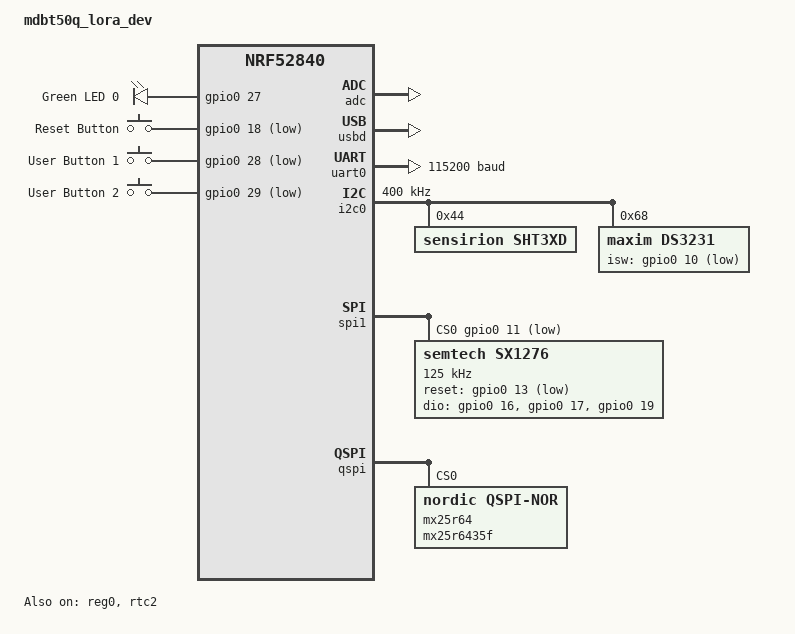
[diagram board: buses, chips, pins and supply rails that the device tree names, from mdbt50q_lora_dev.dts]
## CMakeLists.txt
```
cmake_minimum_required(VERSION 3.20.0)
add_compile_options(-Wall)
# =========== Retrieve build parameters =====================
# Set default log level (OFF, ERR, WRN, INF, DBG)
set(SASTRESS_LOG_LVL LOG_LEVEL_INF)

message("========= SASTRESS PARAMETERS ==========")
# NODE ID handling
set(env_node_id $ENV{NODE_ID})
if(NOT DEFINED ENV{NODE_ID})
    message(FATAL_ERROR "La variable d'environnement NODE_ID n'est pas définie ! Faites 'export NODE_ID=X'")
endif()

message("NODE ID is ${env_node_id}")


# Deploy Mode :
# - Change logging system from Serial to Filesystem
# - Set default logging code to LOG_LEVEL_INF
if(DEFINED ENV{DEPLOY})
    message("Building DEPLOY configuration !")
    set(SASTRESS_LOG_LVL LOG_LEVEL_INF)
endif()
message("Log level is ${SASTRESS_LOG_LVL}")
message("========================================")


# =============== Actual CMakeList ====================
find_package(Zephyr REQUIRED HINTS $ENV{ZEPHYR_BASE})
project(6sens_rtos_sensor)
zephyr_compile_definitions("SASTRESS_LOG_LVL=${SASTRESS_LOG_LVL}")
zephyr_compile_definitions(NODE_ID=${env_node_id})
FILE(GLOB app_sources src/*.c)
target_sources(app PRIVATE ${app_sources})
```

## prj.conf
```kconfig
# Debugger Support
CONFIG_CONSOLE=y
CONFIG_SERIAL=y
CONFIG_UART_CONSOLE=n
CONFIG_CONSOLE_SUBSYS=y
#CONFIG_CONSOLE_GETLINE=y

# RTT Segger Support
CONFIG_RTT_CONSOLE=y
CONFIG_USE_SEGGER_RTT=y

# Log support
CONFIG_LOG=y
CONFIG_LOG_DEFAULT_LEVEL=3
CONFIG_LORA_LOG_LEVEL_DBG=n
CONFIG_LOG_BACKEND_UART=n
CONFIG_LOG_BACKEND_RTT=y
CONFIG_LOG_PRINTK=n

# Communication Bus Support
CONFIG_GPIO=y
CONFIG_SPI=y
CONFIG_I2C=y

# Hardware Support
CONFIG_REBOOT=y
CONFIG_ADC=y
CONFIG_SENSOR=y
CONFIG_RING_BUFFER=y

# RTC Support
CONFIG_COUNTER=y
CONFIG_COUNTER_MAXIM_DS3231=y
CONFIG_POSIX_API=y
CONFIG_NEWLIB_LIBC=y

# Flash Memory Support (MX25R64)
CONFIG_FLASH=y
CONFIG_FLASH_MAP=y
CONFIG_MPU_ALLOW_FLASH_WRITE=y
# CONFIG_NORDIC_QSPI_NOR=n


# File System Support
CONFIG_FILE_SYSTEM=y
CONFIG_FILE_SYSTEM_LITTLEFS=y
CONFIG_FS_LITTLEFS_FMP_DEV=y
# CONFIG_FS_LITTLEFS_BLK_DEV=y

# Enable the filesystem logging backend
CONFIG_LOG_BACKEND_FS=y
# 256kB partition for log, 60 * 4096 < 256kB
CONFIG_LOG_BACKEND_FS_FILES_LIMIT=6
CONFIG_LOG_BACKEND_FS_DIR="/log"

CONFIG_HW_STACK_PROTECTION=y
CONFIG_DEBUG_THREAD_INFO=y
# LoRa Support
CONFIG_LORA=y

# LoRaWAN Support
CONFIG_LORAWAN=y
CONFIG_HAS_SEMTECH_LORAMAC=y
CONFIG_LORAMAC_REGION_EU868=y
CONFIG_LORAWAN_SYSTEM_MAX_RX_ERROR=100

# Stack Support
CONFIG_MAIN_STACK_SIZE=4096
CONFIG_SYSTEM_WORKQUEUE_STACK_SIZE=2048

# Random Number Generation Support
CONFIG_PRINTK=y
CONFIG_CBPRINTF_FP_SUPPORT=y
CONFIG_NEWLIB_LIBC_FLOAT_PRINTF=y
#CONFIG_FP_SOFTABI=y

# Utils
CONFIG_BASE64=y
CONFIG_EVENTS=y
```

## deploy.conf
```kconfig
# Configuration for sensor deployment

# Enable the filesystem logging backend
CONFIG_LOG_BACKEND_FS=y
# 256kB partition for log, 60 * 4096 < 256kB
CONFIG_LOG_BACKEND_FS_FILES_LIMIT=60
CONFIG_LOG_BACKEND_FS_DIR="/log"
```

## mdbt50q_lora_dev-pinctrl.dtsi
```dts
/*
 * Copyright (c) 2024 Regis Rousseau
 * SPDX-License-Identifier: Apache-2.0
 */

&pinctrl {
	/* USB to UART Converter */
	uart0_default: uart0_default {
		group1 {
			psels = <NRF_PSEL(UART_TX, 0, 8)>,
				    <NRF_PSEL(UART_RX, 0, 9)>,
				    <NRF_PSEL(UART_RTS, 0, 7)>,
				    <NRF_PSEL(UART_CTS, 0, 6)>;
		};
	};

	uart0_sleep: uart0_sleep {
		group1 {
			psels = <NRF_PSEL(UART_TX, 0, 8)>,
				    <NRF_PSEL(UART_RX, 0, 9)>,
				    <NRF_PSEL(UART_RTS, 0, 7)>,
				    <NRF_PSEL(UART_CTS, 0, 6)>;
			low-power-enable;
		};
	};
	
	/* I2C Device : SHT31 (0x44) & RTC (0x68) */
	i2c0_default: i2c0_default {
		group1 {
			psels = <NRF_PSEL(TWIM_SDA, 0, 5)>,
				    <NRF_PSEL(TWIM_SCL, 0, 4)>;
				    //bias-disable;
				    //bias-pull-up;
		};
	};

	i2c0_sleep: i2c0_sleep {
		group1 {
			psels = <NRF_PSEL(TWIM_SDA, 0, 5)>,
				    <NRF_PSEL(TWIM_SCL, 0, 4)>;
			low-power-enable;
		};
	};
	
	/* SPI1 : RFM95W module */
	spi1_default: spi1_default {
		group1 {
			psels = <NRF_PSEL(SPIM_SCK, 0, 12)>,
				     <NRF_PSEL(SPIM_MOSI, 0, 14)>,
				     <NRF_PSEL(SPIM_MISO, 0, 15)>;
		};
	};

	spi1_sleep: spi1_sleep {
		group1 {
			psels = <NRF_PSEL(SPIM_SCK, 0, 12)>,
				    <NRF_PSEL(SPIM_MOSI, 0, 14)>,
				    <NRF_PSEL(SPIM_MISO, 0, 15)>;
			low-power-enable;
		};
	};
	
	/* QSPI : MX25R6435FM1 Flash Memory */
	qspi_default: qspi_default {
		group1 {
			psels = <NRF_PSEL(QSPI_SCK, 1, 1)>,
				    <NRF_PSEL(QSPI_IO0, 1, 2)>,
				    <NRF_PSEL(QSPI_IO1, 1, 3)>,
				    <NRF_PSEL(QSPI_IO2, 1, 4)>,
				    <NRF_PSEL(QSPI_IO3, 1, 5)>,
				    <NRF_PSEL(QSPI_CSN, 1, 0)>;
		};
	};

	qspi_sleep: qspi_sleep {
		group1 {
			psels = <NRF_PSEL(QSPI_SCK, 1, 1)>,
				    <NRF_PSEL(QSPI_IO0, 1, 2)>,
				    <NRF_PSEL(QSPI_IO1, 1, 3)>,
				    <NRF_PSEL(QSPI_IO2, 1, 4)>,
				    <NRF_PSEL(QSPI_IO3, 1, 5)>;
			low-power-enable;
		};
		group2 {
			psels = <NRF_PSEL(QSPI_CSN, 1, 0)>;
			low-power-enable;
			bias-pull-up;
		};
	};

};
```

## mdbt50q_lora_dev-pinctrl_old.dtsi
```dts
/*
 * Copyright (c) 2024 Regis Rousseau
 * SPDX-License-Identifier: Apache-2.0
 */

&pinctrl {
	/* USB to UART Converter */

	uart0_default: uart0_default {
		group1 {
			psels = <NRF_PSEL(UART_TX, 0, 6)>,
				    <NRF_PSEL(UART_RX, 0, 8)>,
				    <NRF_PSEL(UART_RTS, 0, 5)>,
				    <NRF_PSEL(UART_CTS, 0, 7)>;
		};
	};

	uart0_sleep: uart0_sleep {
		group1 {
			psels = <NRF_PSEL(UART_TX, 0, 6)>,
				    <NRF_PSEL(UART_RX, 0, 8)>,
				    <NRF_PSEL(UART_RTS, 0, 5)>,
				    <NRF_PSEL(UART_CTS, 0, 7)>;
			low-power-enable;
		};
	};
	
	/* I2C Device : SHT31 (0x44) & RTC (0x68) */

	i2c0_default: i2c0_default {
		group1 {
			psels = <NRF_PSEL(TWIM_SDA, 0, 24)>,
				    <NRF_PSEL(TWIM_SCL, 0, 25)>;
				    //bias-disable;
				    //bias-pull-up;
		};
	};

	i2c0_sleep: i2c0_sleep {
		group1 {
			psels = <NRF_PSEL(TWIM_SDA, 0, 24)>,
				    <NRF_PSEL(TWIM_SCL, 0, 25)>;
			low-power-enable;
		};
	};
	
	/* SPI1 : RFM95W module */

	spi1_default: spi1_default {
		group1 {
			psels = <NRF_PSEL(SPIM_SCK, 0, 14)>,
				     <NRF_PSEL(SPIM_MOSI, 0, 16)>,
				     <NRF_PSEL(SPIM_MISO, 0, 15)>;
		};
	};

	spi1_sleep: spi1_sleep {
		group1 {
			psels = <NRF_PSEL(SPIM_SCK, 0, 14)>,
				    <NRF_PSEL(SPIM_MOSI, 0, 16)>,
				    <NRF_PSEL(SPIM_MISO, 0, 15)>;
			low-power-enable;
		};
	};
	
	/* QSPI : MX25R6435FM1 Flash Memory */

	qspi_default: qspi_default {
		group1 {
			psels = <NRF_PSEL(QSPI_SCK, 1, 3)>,
				    <NRF_PSEL(QSPI_IO0, 1, 5)>,
				    <NRF_PSEL(QSPI_IO1, 1, 4)>,
				    <NRF_PSEL(QSPI_IO2, 1, 2)>,
				    <NRF_PSEL(QSPI_IO3, 1, 1)>,
				    <NRF_PSEL(QSPI_CSN, 1, 6)>;
		};
	};

	qspi_sleep: qspi_sleep {
		group1 {
			psels = <NRF_PSEL(QSPI_SCK, 1, 3)>,
				    <NRF_PSEL(QSPI_IO0, 1, 5)>,
				    <NRF_PSEL(QSPI_IO1, 1, 4)>,
				    <NRF_PSEL(QSPI_IO2, 1, 2)>,
				    <NRF_PSEL(QSPI_IO3, 1, 1)>;
			low-power-enable;
		};
		group2 {
			psels = <NRF_PSEL(QSPI_CSN, 1, 6)>;
			low-power-enable;
			bias-pull-up;
		};
	};

};
```

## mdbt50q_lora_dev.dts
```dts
/*
 * Copyright (c) 2025 Regis Rousseau
 *
 * SPDX-License-Identifier: Apache-2.0
 */

/dts-v1/;
#include <nordic/nrf52840_qiaa.dtsi>
#include "mdbt50q_lora_dev-pinctrl.dtsi"
#include <zephyr/dt-bindings/input/input-event-codes.h>

/ {
	model		= "mdbt50q_lora_dev";
	compatible	= "raytac,raytac-mdbt50q-db-40-nrf52840";

	chosen {
		zephyr,console		= &uart0;
		zephyr,shell-uart		= &uart0;
		zephyr,uart-mcumgr	= &uart0;
		zephyr,bt-mon-uart		= &uart0;
		zephyr,bt-c2h-uart		= &uart0;
		zephyr,sram			= &sram0;
		zephyr,flash			= &flash0;
		zephyr,code-partition	= &slot0_partition;
	};

	leds {
		compatible = "gpio-leds";
		led0: led_0 {
			gpios	= <&gpio0 27 GPIO_ACTIVE_HIGH>;
			label 	= "Green LED 0";
		};
	};

	buttons {
		compatible = "gpio-keys";
		button0: button_0 {
			gpios		= <&gpio0 18 (GPIO_PULL_UP | GPIO_ACTIVE_LOW)>;
			label			= "Reset Button";
			zephyr,code	= <INPUT_KEY_0>;
		};
		button1: button_1{
			gpios		= <&gpio0 28 (GPIO_PULL_UP | GPIO_ACTIVE_LOW)>;
			label			= "User Button 1";
			zephyr,code	= <INPUT_KEY_1>;
		};
		button2: button_2{
			gpios		= <&gpio0 29 (GPIO_PULL_UP | GPIO_ACTIVE_LOW)>;
			label			= "User Button 2";
			zephyr,code	= <INPUT_KEY_2>;
		};
	};

	aliases {
		led0				= &led0;
		sw0				= &button0;
		sw1				= &button1;
		sw2				= &button2;
		lora0			= &lora;
		mcuboot-button0 	= &button0;
		mcuboot-led0		=&led0;
		watchdog0		= &wdt0;
	};
};

&reg0 {
	status = "okay";
};

&reg1 {
	regulator-initial-mode = <NRF5X_REG_MODE_DCDC>;
};

&adc {
	status = "okay";
};

&uicr {
	gpio-as-nreset;
};

&gpiote {
	status = "okay";
};

&gpio0 {
	status = "okay";
};

&gpio1 {
	status = "okay";
};

zephyr_udc0: &usbd {
	compatible	= "nordic,nrf-usbd";
	status		= "okay";
};

&uart0 {
	compatible	= "nordic,nrf-uart";
	status		= "okay";
	current-speed	= <115200>;
	pinctrl-0		= <&uart0_default>;
	pinctrl-1		= <&uart0_sleep>;
	pinctrl-names	= "default","sleep";
};

&rtc2 {
	compatible	= "nordic,nrf-rtc";
        status		= "okay";
	cc-num      	= <3>;
        prescaler   	= <1>;	// 32768 Hz / (prescaler+1) = 16384 Hz
};

/* TPH sensor: SHT31 (0x44) & RTC: DS3231 (0x68) */
&i2c0 {
	compatible		= "nordic,nrf-twim";		// twim uses DMA
	status			= "okay";
	pinctrl-0			= <&i2c0_default>;
	pinctrl-1			= <&i2c0_sleep>;
	pinctrl-names 		= "default", "sleep";
	//pinctrl-names		= "default";
	clock-frequency	= <I2C_BITRATE_FAST>;

	sht3xd@44 {
		compatible	= "sensirion,sht3xd";
		reg			= <0x44>;
	};

	ds3231: ds3231@68 {
		compatible	= "maxim,ds3231";
		reg			= <0x68>;
		isw-gpios		= <&gpio0 10 (GPIO_PULL_UP | GPIO_ACTIVE_LOW)>;
	};
};

/* RFM95W module */
&spi1 {
	compatible	= "nordic,nrf-spi";
	status		= "okay";
	pinctrl-0		= <&spi1_default>;
	pinctrl-1		= <&spi1_sleep>;
	pinctrl-names	= "default", "sleep";
	cs-gpios	= <&gpio0 11 GPIO_ACTIVE_LOW>;
    
    	lora: sx1276@0 {
        	compatible	= "semtech,sx1276";
        	reg			= <0>;
        	label			= "sx1276";
        	reset-gpios	= <&gpio0 13 GPIO_ACTIVE_LOW>;
		dio-gpios		= <&gpio0 16 (GPIO_PULL_DOWN | GPIO_ACTIVE_HIGH)>,
            	    	    	  	   <&gpio0 17 (GPIO_PULL_DOWN | GPIO_ACTIVE_HIGH)>,
                                  	   <&gpio0 19 (GPIO_PULL_DOWN | GPIO_ACTIVE_HIGH)>;
		spi-max-frequency		= <125000>;
        	power-amplifier-output	= "pa-boost";
    	};
};

/* EEPROM Serial Flash Memory: MX25R6435 */
&qspi {
	status		= "okay";
	pinctrl-0 		= <&qspi_default>;
	pinctrl-1		= <&qspi_sleep>;
	pinctrl-names	= "default", "sleep";
	
	mx25r64: mx25r6435f@0 {
		compatible	= "nordic,qspi-nor";
		reg			= <0>;
		writeoc		= "pp4io";
		readoc		= "read4io";
		sck-frequency	= <8000000>;
		jedec-id		= [c2 28 17];
		sfdp-bfp		= [
					e5 20 f1 ff  ff ff ff 03  44 eb 08 6b  08 3b 04 bb
					ee ff ff ff  ff ff 00 ff  ff ff 00 ff  0c 20 0f 52
					10 d8 00 ff  23 72 f5 00  82 ed 04 cc  44 83 68 44
					30 b0 30 b0  f7 c4 d5 5c  00 be 29 ff  f0 d0 ff ff
		];
		size			= <67108864>;
		has-dpd;
		t-enter-dpd	= <10000>;
		t-exit-dpd		= <35000>;
	};
};

/* internal flash memory */
&flash0 {
	partitions {
		compatible 	= "fixed-partitions";
		#address-cells	= <1>;
		#size-cells	= <1>;

		boot_partition: partition@0 {
			label 	= "mcuboot";
			reg 		= <0x00000000 0x0000C000>;
		};
		slot0_partition: partition@c000 {
			label 	= "image-0";
			reg 		= <0x0000C000 0x00077000>;
		};
		slot1_partition: partition@83000 {
			label 	= "image-1";
			reg 		= <0x00083000 0x00075000>;
		};
		/* 32KB (8x4kB pages) of storage at the end of the 1MB flash */
		log_storage: partition@f8000 {
			label		= "log_storage";																																																																				
			reg 		= <0x000f8000 0x00008000>;
		};
	};
};
```

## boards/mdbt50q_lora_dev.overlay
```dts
/*
 * Copyright (c) 2025
 * Regis Rousseau
 * Univ Lyon, INSA Lyon, Inria, CITI, EA3720
 * SPDX-License-Identifier: Apache-2.0
 */

/* battery voltage monitoring and seismic sensor analog value conversion */
/* external ADC channnel of MDBT50Q, port P0.02 and port P0.03 on schematic */
/ {
	zephyr,user {
		io-channels = <&adc 0>,<&adc 1>;
	};
};

/* enable the corresponding ADC, with the correct configuration */
&adc {
	#address-cells = <1>;
	#size-cells = <0>;
	status = "okay";

	/* external ADC channnel AIN0 of MDBT50Q, port P0.02 on schematic for geophone*/
	channel@0 {
		reg = <0>;											/* channel 0 of the ADC */
		zephyr,gain = "ADC_GAIN_1_6";						/* attenuated by 6 (x1/6) */
		zephyr,reference = "ADC_REF_INTERNAL";				/* reference voltage +0.6 */
		zephyr,acquisition-time = <ADC_ACQ_TIME_DEFAULT>;	/* 10us */
		zephyr,input-positive = <NRF_SAADC_AIN0>;			/* p0.02 for nRF52xx */
		zephyr,resolution = <12>;
	};
	
	/* external ADC channnel AIN1 of MDBT50Q, port P0.03 on schematic for battery*/
	channel@1 {
		reg = <1>;											/* channel 1 of the ADC */
		zephyr,gain = "ADC_GAIN_1_6";						/* attenuated by 6 (x1/6) */
		zephyr,reference = "ADC_REF_INTERNAL";				/* reference voltage +0.6 */
		zephyr,acquisition-time = <ADC_ACQ_TIME_DEFAULT>;	/* 10us */
		zephyr,input-positive = <NRF_SAADC_AIN1>;			/* p0.03 for nRF52xx */
		zephyr,resolution = <12>;
	};
};

/* enable the recording in the EEPROM */
/* 
&mx25r64 {
	partitions {
		compatible		= "fixed-partitions";
		#address-cells	= <1>;
		#size-cells		= <1>;

		data_storage: partition@0 {
			label	= "data_storage";
			reg		= <0x00000000 0x00800000>;
		};
	};
};
*/

&flash0 {
	partitions {
		/* 512KB (128x4kB pages) of storage at the end of the 1MB flash */
		data_storage: partition@40000 {
			label		= "data_storage";																																																																				
			reg 		= <0x0040000 0x00080000>;
		};
		/* 256KB (64qx4kB pages) of storage at the end of the 1MB flash */
		log_storage: partition@C0000 {
			label		= "log_storage";																																																																				
			reg 		= <0x00C0000 0x00040000>;
		};
	
	};
};
```

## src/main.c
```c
#include <stdio.h>
#include "version.h"
/*
 * Copyright (c) 2025
 * Regis Rousseau
 * Univ Lyon, INSA Lyon, Inria, CITI, EA3720
 * SPDX-License-Identifier: Apache-2.0
 */

//  ========== includes ====================================================================
#include "app_adc.h"
#include "config.h"
#include "app_ds3231.h"
#include "lorawan.h"
#include "app_sensors.h"
#include "periodic_samples.h"
#include "app_sta_lta_tx.h"
#include "fs_utils.h"

#include <zephyr/sys/reboot.h>
#include <zephyr/lorawan/lorawan.h>

#include <zephyr/logging/log.h>
#include <zephyr/logging/log_ctrl.h>
LOG_MODULE_REGISTER(main);

// define GPIO configurations for the LEDs
static const struct gpio_dt_spec led_0 = GPIO_DT_SPEC_GET(DT_ALIAS(led0), gpios);
// static const struct gpio_dt_spec led_1 = GPIO_DT_SPEC_GET(LED_1, gpios);
//  ========== RTC thread ==================================================================
// thread to have periodic synchronisation of timestamp
K_SEM_DEFINE(init_done_sem, 0, 1);

void rtc_thread_func(void)
{
    k_sem_take(&init_done_sem, K_FOREVER);
    const struct device *ds3231_dev = DEVICE_DT_GET_ONE(maxim_ds3231);

    while (true) {
        k_sleep(K_SECONDS(30));                     // wait first, then sync
        app_ds3231_periodic_sync(ds3231_dev);       // re-anchor offset to DS3231
    }
}
K_THREAD_DEFINE(rtc_thread_id, 2048, rtc_thread_func,
                NULL, NULL, NULL, 2, 0, K_TICKS_FOREVER);

//  ========== sensor thread ===============================================================
// thread to send environment value when no activity
bool bth_thread_flag = true;

void bth_thread_func(void)
{
    LOG_INF("sensor thread started");
    while (bth_thread_flag == true) {
        LOG_INF("performing periodic sensor read");
        (void)app_sensors_handler();
        k_sleep(BTH_PERIOD);
    }
}
K_THREAD_DEFINE(bth_thread_id, 2048, bth_thread_func,
                NULL, NULL, NULL, PRIORITY_TTN, 0, K_TICKS_FOREVER);


// Synchro clock 
int sync_clock(const struct device * ds3231_dev)
{
    int ret;
    uint32_t gps_time;
    time_t unix_time;
    struct tm timeinfo;
    char buf[32];

    ret = lorawan_request_device_time(1);
    if (ret != 0)
    {
        LOG_ERR("lorawan_request_device_time returned %d\n", ret);
        return ret;
    }

    /*
    * Once time synchronisation has occurred, lorawan_clock_sync_get() can
    * be called to populate an uint32_t variable with GPS Time. This is the
    * number of seconds since Jan 6th 1980
    */
    ret = lorawan_device_time_get(&gps_time);
    if (ret != 0)
    {
        LOG_ERR("lorawan_device_time_get returned %d\n", ret);
        return ret;
    }
    else
    {
        gps_time += 315964782;
        unix_time = gps_time;
        app_ds3231_set_time(ds3231_dev, gps_time);
        localtime_r(&unix_time, &timeinfo);
        strftime(buf, sizeof(buf), "%A %B %d %Y %I:%M:%S %p %Z", &timeinfo);
        LOG_INF("Sync with GPS Time = %lli, UTC Time: %s", unix_time, buf);
    }
    return 0;
}

void setup_leds() {
    	// test if GPIO is ready to use
	if ((!gpio_is_ready_dt(&led_0))) {
        return ;
    }

	// configure the LEDs as active output pins
	gpio_pin_configure_dt(&led_0, GPIO_OUTPUT_ACTIVE);
	//gpio_pin_configure_dt(&led_1, GPIO_OUTPUT_ACTIVE);

    gpio_pin_set_dt(&led_0, 0);
}

int restart_sensor() {
    log_flush();
    sys_reboot(SYS_REBOOT_COLD); // Reset on failure
}

//  ========== main ========================================================================
int main(void)
{
    printf("Software version: %s\n", SOFTWARE_VERSION);

	int8_t ret;

    setup_leds();

	LOG_INF("initializing RTC Devices");
	// initialize DS3231 RTC device via I2C (Pins: SDA -> P0.09, SCL -> P0.0)
	const struct device *ds3231_dev = app_ds3231_init();
    if (!ds3231_dev) {
        LOG_ERR("failed to initialize DS3231");
        restart_sensor();
    }

    ret = mount_lfs();
    if(ret != 0)  {
        LOG_ERR("Could not mount lfs, resetting...");
        restart_sensor();
    }

	// unblock RTC sync thread
    k_sem_give(&init_done_sem);
	ret = lora_init();
	if (ret != 0) {
		LOG_ERR("Could not initalize LoRa");
		restart_sensor();
	}
    LOG_INF("Lora INIT OK...");

	ret = lora_joinnet();
	if (ret != 0) {
		LOG_ERR("Could not connect to LoRa net");
		restart_sensor();
	}
	
    ret = sync_clock(ds3231_dev);
    if(ret != 0)  {
        LOG_ERR("Could not get time, resetting...");
        restart_sensor();
    }

	// start threads and sampling only after all HW is ready
    bth_thread_flag = true;
    if(BTH_ENABLE != 0) {
        k_thread_start(bth_thread_id);
    }

    k_thread_start(rtc_thread_id); 

    LOG_INF("Geophone Measurement and Process Information");
	// start ADC sampling
    app_adc_sampling_start();

	// start storage and strategy to watch an event with sent the event
	app_sta_lta_start_tx();
    

    // Start to send a periodic sample every hour
    if(PERIODIC_SAMPLE_ENABLE != 0) {
        start_periodic_sample();
    }

    start_dump_rm_thread();

    gpio_pin_set_dt(&led_0, 1);
    k_sleep(K_SECONDS(60));
    log_flush();
    gpio_pin_set_dt(&led_0, 0);
	return 0;
}
```

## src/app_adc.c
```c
/*
 * Copyright (c) 2025
 * Regis Rousseau
 * Univ Lyon, INSA Lyon, Inria, CITI, EA3720
 * SPDX-License-Identifier: Apache-2.0
 */

 //  ========== includes ===================================================================
#include "app_adc.h"
#include "app_sta_lta_tx.h"

#include <zephyr/kernel.h>

#include "config.h" // for log level
#include <zephyr/logging/log.h>
LOG_MODULE_REGISTER(adc);

//  ========== globals =====================================================================
// ADC buffer to store raw ADC readings
static uint16_t ring_buffer[ADC_BUFFER_SIZE];
static uint32_t sampling_rate_ms = SAMPLING_RATE_MS;
static uint16_t sample_buffer;
static bool stop_sampling = false;

// ADC channel configuration obtained from the device tree
#define DT_SPEC_AND_COMMA(node_id, prop, idx) \
    ADC_DT_SPEC_GET_BY_IDX(node_id, idx),

static const struct adc_dt_spec adc_channels[] = {
    DT_FOREACH_PROP_ELEM(DT_PATH(zephyr_user), io_channels,
                         DT_SPEC_AND_COMMA)
};

// define a stack for the ADC thread, with a size of 1024 bytes
K_THREAD_STACK_DEFINE(adc_stack, 1024);

// structure to hold ADC thread data
struct k_thread adc_thread_data;

// mutex to manage concurrent access to the ADC ring buffer
K_MUTEX_DEFINE(buffer_lock);

// mutex to manage access to buffers when retrieving ADC data
K_MUTEX_DEFINE(get_buffer_lock);

// semaphore to signal when new ADC data is available
K_SEM_DEFINE(data_ready_sem, 0, 1);

// semaphore to signal sampling rate change
K_SEM_DEFINE(rate_change_sem, 0, 1);

// index to track the head of the ring buffer
int ring_head = 0;

// nonlinear mapping via lookup table
// source: https://www.jackery.com/blogs/knowledge/battery-voltage-chart
static const struct {
        float voltage;
        uint8_t percent;
} soc_table[] = {
    {4.20f, 100},
    {4.05f,  90},
    {3.95f,  80},
    {3.85f,  70},
    {3.80f,  60},
    {3.75f,  50},
    {3.70f,  40},
    {3.65f,  30},
    {3.55f,  20},
    {3.40f,  10},
    {3.00f,   0}
};

//  ========== app_adc_read_ch =============================================================
int8_t app_adc_read_ch(size_t ch)
{
    int err;
    const struct adc_dt_spec *spec = &adc_channels[ch];

    if (!device_is_ready(spec->dev)) {
        LOG_ERR("ADC device not ready");
        return -ENODEV;
    }

    err = adc_channel_setup_dt(spec);
    if (err < 0) {
        LOG_ERR("channel setup failed. error: %d", err);
        return err;
    }

    struct adc_sequence sequence = {
        .buffer = &sample_buffer,
        .buffer_size = sizeof(sample_buffer),
        .resolution = 12,
    };

    err = adc_sequence_init_dt(spec, &sequence);
    if (err < 0) {
        LOG_ERR("sequence init failed. error: %d", err);
        return err;
    }

    err = adc_read(spec->dev, &sequence);
    if (err < 0) {
        LOG_ERR("ADC read failed. error: %d", err);
        return err;
    }

    //printk("channel[%d] raw value = %d\n", ch, sample_buffer);
    return 0;
}

// Convert battery voltage in mV to battery level (0% to 100%) 
uint8_t mv_to_batlevel(int v_bat) {
    // convert to volts
    float vbat = v_bat / 1000.0f;  

    // convert to volts for lookup
    uint8_t soc = 0;
    if (vbat >= soc_table[0].voltage) {
        soc = 100;
    } else if (vbat <= soc_table[sizeof(soc_table)/sizeof(soc_table[0]) - 1].voltage) {
        soc = 0;
    } else {
        for (int i = 0; i < (int)(sizeof(soc_table)/sizeof(soc_table[0]) - 1); i++) {
            float v1 = soc_table[i].voltage;
            float v2 = soc_table[i+1].voltage;
            if (vbat <= v1 && vbat >= v2) {
                float p1 = soc_table[i].percent;
                float p2 = soc_table[i+1].percent;
                soc = (uint8_t)(p1 + (vbat - v1)*(p2 - p1)/(v2 - v1));
                break;
            }
        }
    }

    return soc;
}

//  ========== app_adc_get_bat =============================================================
int16_t app_adc_get_bat()
{
    // read sample from the ADC
    app_adc_read_ch(1);

    // convert raw ADC reading to voltage
    int32_t v_adc = (sample_buffer * ADC_FULL_SCALE_MV) / ADC_RESOLUTION;
    // LOG_INF("convert voltage AIN1: %d mV", v_adc);

    // scale back to actual battery voltage using voltage divider
    int32_t v_bat = (v_adc * DIVIDER_RATIO_NUM) / DIVIDER_RATIO_DEN;
    // LOG_INF("convert voltage BATT: %d mv", v_bat);

    return v_bat;
}

// //  ========== adc_thread ===============================================================
void app_adc_thread(void *arg1, void *arg2, void *arg3)
{
    while (!stop_sampling) {
         if (app_adc_read_ch(0) == 0) {
            
            k_mutex_lock(&buffer_lock, K_FOREVER);

            int32_t v_adc = (sample_buffer * ADC_FULL_SCALE_MV) / ADC_RESOLUTION;
            //printk("convert voltage AIN0: %d mV\n", v_adc);
            
            ring_buffer[ring_head] = v_adc;
            ring_head = (ring_head + 1) % ADC_BUFFER_SIZE;
            k_mutex_unlock(&buffer_lock);
            k_sem_give(&data_ready_sem);
        } else {
            LOG_ERR("failed to read ADC sequence");
        }

        // check for a rate change signals
        if (k_sem_take(&rate_change_sem, K_NO_WAIT) == 0) {
            LOG_INF("sampling rate updated to %d ms", sampling_rate_ms);
            k_sem_reset(&rate_change_sem);  // reset semaphore count
        }
        k_sleep(K_MSEC(sampling_rate_ms));
    }
}

//  ========== app_adc_sampling_start ======================================================
// start the ADC sampling thread
// the thread reads data from the ADC and stores it in a ring buffer
void app_adc_sampling_start(void)
{
    stop_sampling = false;
    k_thread_create(&adc_thread_data, adc_stack, K_THREAD_STACK_SIZEOF(adc_stack),
                    app_adc_thread, NULL, NULL, NULL,
                    PRIORITY_ADC, 0, K_NO_WAIT); // priority 2 (higher than LTA)
}

//  ========== app_adc_sampling_stop =======================================================
// stop ADC sampling thread
void app_adc_sampling_stop(void)
{
    stop_sampling = true;
    k_sem_give(&rate_change_sem); // wake if sleeping
    k_thread_join(&adc_thread_data, K_FOREVER);
}

//  ========== app_adc_get_buffer ==========================================================
// copie a portion of the ADC ring buffer to a user-supplied buffer.
// use a mutex to ensure thread-safe access
void app_adc_get_buffer(uint16_t *dest, size_t size, int32_t offset)
{
    if (!dest || size == 0 || size > ADC_BUFFER_SIZE) {
        LOG_ERR("adc_get_buffer: invalid params (size=%zu)", size);
        return;
    }

    // handle negative offsets by wrapping them around the buffer
    int start_index = (ring_head + offset + ADC_BUFFER_SIZE) % ADC_BUFFER_SIZE;

    k_mutex_lock(&buffer_lock, K_FOREVER);

    for (size_t i = 0; i < size; i++) {
        dest[i] = ring_buffer[(start_index + i) % ADC_BUFFER_SIZE];
        // printk("dest[%zu] = ring_buffer[%d] = %d\n", i, (start_index + i) % ADC_BUFFER_SIZE, dest[i]);
    }
    k_mutex_unlock(&buffer_lock);
}

//  ========== app_adc_set_sampling_rate ===================================================
void app_adc_set_sampling_rate(uint32_t rate_ms)
{
    sampling_rate_ms = rate_ms;
    k_sem_give(&rate_change_sem);
    // signal the thread about the rate change
    k_sem_give(&rate_change_sem);
    LOG_INF("sampling rate set to %d ms", rate_ms);
}
```

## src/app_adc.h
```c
/*
 * Copyright (c) 2025
 * Regis Rousseau
 * Univ Lyon, INSA Lyon, Inria, CITI, EA3720
 * SPDX-License-Identifier: Apache-2.0
 */

#ifndef APP_ADC_H
#define APP_ADC_H

//  ========== includes ====================================================================
#include <zephyr/kernel.h>
#include <zephyr/device.h>
#include <zephyr/devicetree.h>
#include <zephyr/drivers/adc.h>
#include <stdint.h>
#include <stdio.h>
#include <stddef.h>

//  ========== defines =====================================================================
// ADC characteristics (nRF52 SAADC)
#define ADC_REF_INTERNAL_MV         600     // 0.6 V internal reference
#define ADC_GAIN                    6       // using ADC_GAIN_1_6
#define ADC_RESOLUTION              4096    // 12-bit

// effective full-scale voltage in mV
#define ADC_FULL_SCALE_MV           ((ADC_REF_INTERNAL_MV * ADC_GAIN))  // 3600 mV

// voltage divider correction
#define DIVIDER_RATIO_NUM           4600    // (R4 + R5)
#define DIVIDER_RATIO_DEN           3600    // R5

// duration between 2 samples
#define SAMPLING_RATE_MS            10        // critical value for POC
// #define SAMPLING_RATE_MS            8       // SR = 125 Hz
//#define SAMPLING_RATE_MS            7       // max value for ADC -> 167 Hz

// priority of the different threads involved
#define PRIORITY_ADC                2

// ========== globals ======================================================================
extern struct k_sem data_ready_sem;
extern int32_t ring_head;

//  ========== prototypes ==================================================================
int16_t app_adc_get_bat();
int8_t app_adc_read_ch(size_t ch);

void app_adc_thread(void *arg1, void *arg2, void *arg3);

void app_adc_sampling_start(void);
void app_adc_sampling_stop(void);

void app_adc_get_buffer(uint16_t *dest, size_t size, int32_t offset);
void app_adc_set_sampling_rate(uint32_t rate_ms);

#endif /* APP_ADC_H */
```

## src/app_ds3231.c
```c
/*
 * Copyright (c) 2025
 * Regis Rousseau
 * Univ Lyon, INSA Lyon, Inria, CITI, EA3720
 * SPDX-License-Identifier: Apache-2.0
 */

//  ========== includes ===================================================================
#include "app_ds3231.h"
#include <zephyr/sys/timeutil.h>

#include <stdio.h>
#include "config.h" // for log level
#include <zephyr/logging/log.h>
LOG_MODULE_REGISTER(ds3231);

//  ========== globals ====================================================================
static int64_t  rtc_offset_ms = 0;   // anchors nRF ticks to DS3231 unix time
static struct k_mutex offset_mutex;

//  ========== bcd_to_bin ==================================================================
static uint8_t bcd_to_bin(uint8_t val)
{
    return ((val >> 4) * 10) + (val & 0x0f);
}

//  ========== bin_to_bcd ==================================================================
static uint8_t bin_to_bcd(uint8_t val)
{
    return ((val / 10) << 4) | (val % 10);
}

//  ========== ds3231_read_unix ============================================================
// reads DS3231 registers directly via I2C, bypassing counter_get_value
static int ds3231_read_unix(uint32_t *unix_secs)
{
    const struct device *i2c = DEVICE_DT_GET(DT_NODELABEL(i2c0));
    if (!device_is_ready(i2c)) {
        return -ENODEV;
    }

    uint8_t reg = DS3231_REG_TIME;
    uint8_t buf[7];

    int ret = i2c_write_read(i2c, DS3231_I2C_ADDR, &reg, 1, buf, 7);
    if (ret < 0) {
        LOG_ERR("DS3231 i2c read failed: %d", ret);
        return ret;
    }

    // convert registers to struct tm
    struct tm utc = {
        .tm_sec  = bcd_to_bin(buf[0] & 0x7f),
        .tm_min  = bcd_to_bin(buf[1] & 0x7f),
        .tm_hour = bcd_to_bin(buf[2] & 0x3f),
        .tm_mday = bcd_to_bin(buf[4] & 0x3f),
        .tm_mon  = bcd_to_bin(buf[5] & 0x1f) - 1,
        .tm_year = bcd_to_bin(buf[6]) + 100,
    };

    // convert to unix seconds
    *unix_secs = (uint32_t)timeutil_timegm64(&utc);

    LOG_DBG("DS3231 direct read: %02d:%02d:%02d %02d/%02d/%04d -> unix=%u",
           utc.tm_hour, utc.tm_min, utc.tm_sec,
           utc.tm_mday, utc.tm_mon + 1, utc.tm_year + 1900,
           *unix_secs);

    return 0;
}

int timestamp_to_string(char * string, uint64_t timestamp) {
    struct tm utc;
    uint32_t unix_secs = (uint32_t) (timestamp/1000);
    time_t t = (time_t)unix_secs;
    gmtime_r(&t, &utc);

    return snprintf(string, 100, "%02d:%02d:%02d %02d/%02d/%04d",utc.tm_hour, utc.tm_min, utc.tm_sec, utc.tm_mday, utc.tm_mon + 1, utc.tm_year + 1900);
}

//  ========== app_ds3231_init =============================================================
const struct device *app_ds3231_init(void)
{
    //const struct device *dev = DEVICE_DT_GET_ONE(maxim_ds3231);
    const struct device *dev = DEVICE_DT_GET(DT_NODELABEL(i2c0));
    if (!device_is_ready(dev)) {   // ← correct check
        LOG_ERR("DS3231 not ready");
        return NULL;
    }

    k_mutex_init(&offset_mutex);
    LOG_INF("DS3231 ready");
    return dev;
}

//  ========== app_ds3231_set_time =========================================================
int8_t app_ds3231_set_time(const struct device *ds3231_dev, uint32_t unix_secs)
{
    if (!device_is_ready(ds3231_dev)) {
        return -ENODEV;
    }

    const struct device *i2c = DEVICE_DT_GET(DT_NODELABEL(i2c0));
    if (!device_is_ready(i2c)) {
        LOG_ERR("I2C bus not ready");
        return -ENODEV;
    }

    struct tm utc;
    time_t t = (time_t)unix_secs;
    gmtime_r(&t, &utc);

    uint8_t buf[8];
    buf[0] = DS3231_REG_TIME;
    buf[1] = bin_to_bcd(utc.tm_sec);
    buf[2] = bin_to_bcd(utc.tm_min);
    buf[3] = bin_to_bcd(utc.tm_hour);
    buf[4] = bin_to_bcd(utc.tm_wday + 1);
    buf[5] = bin_to_bcd(utc.tm_mday);
    buf[6] = bin_to_bcd(utc.tm_mon + 1);
    buf[7] = bin_to_bcd(utc.tm_year - 100);

    int ret = i2c_write(i2c, buf, sizeof(buf), DS3231_I2C_ADDR);
    if (ret < 0) {
        LOG_ERR("i2c_write failed: %d", ret);
        return ret;
    }

    k_sleep(K_MSEC(1100));

    // read back directly via I2C, NOT counter_get_value
    uint32_t readback;
    ret = ds3231_read_unix(&readback);
    if (ret < 0) {
        return ret;
    }

    int64_t uptime_ms = k_uptime_get();
    int64_t target_ms = (int64_t)readback * 1000;

    k_mutex_lock(&offset_mutex, K_FOREVER);
    rtc_offset_ms = target_ms - uptime_ms;
    k_mutex_unlock(&offset_mutex);
    LOG_DBG("DS3231 time set to unix=%u, offset=%lld ms",
           readback, rtc_offset_ms);
    return 0;
}

//  ========== app_ds3231_periodic_sync ====================================================
int8_t app_ds3231_periodic_sync(const struct device *ds3231_dev)
{
    uint32_t unix_secs;
    int ret = ds3231_read_unix(&unix_secs);   // direct I2C, not counter_get_value
    if (ret < 0) {
        LOG_ERR("DS3231 periodic sync failed: %d", ret);
        return ret;
    }

    int64_t tick_ms = k_uptime_get();

    int64_t new_offset = (int64_t)unix_secs * 1000 - tick_ms;

    k_mutex_lock(&offset_mutex, K_FOREVER);
    rtc_offset_ms = new_offset;
    k_mutex_unlock(&offset_mutex);

    LOG_DBG("sync: DS3231=%u s, tick_ms=%lld ms, offset=%lld ms",
           unix_secs, tick_ms, new_offset);
    return 0;
}

//  ========== app_get_timestamp ===========================================================
// returns unix timestamp in ms with sub-second precision from nRF RTC ticks
uint64_t app_get_timestamp(void)
{
    int64_t tick_ms = k_uptime_get();

    int64_t offset;
    k_mutex_lock(&offset_mutex, K_FOREVER);
    offset = rtc_offset_ms;
    k_mutex_unlock(&offset_mutex);

    int64_t result = tick_ms + offset;
    if (result < 0) {
        return 0;
    }
    return (uint64_t)result;
}
```

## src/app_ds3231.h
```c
/*
 * Copyright (c) 2025
 * Regis Rousseau
 * Univ Lyon, INSA Lyon, Inria, CITI, EA3720
 * SPDX-License-Identifier: Apache-2.0
 */

#ifndef APP_DS3231_H
#define APP_DS3231_H

//  ========== includes ==============================================================================
#include <zephyr/kernel.h>
#include <zephyr/device.h>
#include <zephyr/devicetree.h>
#include <zephyr/drivers/counter.h>
#include <zephyr/drivers/i2c.h>
#include <time.h>

//  ========== defines ===============================================================================
#define DS3231_I2C_ADDR     0x68
#define DS3231_REG_TIME     0x00

//  ========== prototypes ============================================================================
const struct device *app_ds3231_init(void);
int8_t app_ds3231_set_time(const struct device *ds3231_dev, uint32_t unix_secs);
int8_t app_ds3231_periodic_sync(const struct device *ds3231_dev);
uint64_t app_get_timestamp(void);
// Fill a string with the datetime corresponding to `timestamp`
int timestamp_to_string(char * string, uint64_t timestamp);
#endif /* APP_DS3231_H */
```

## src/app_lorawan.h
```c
/*
 * Copyright (c) 2025
 * Regis Rousseau
 * Univ Lyon, INSA Lyon, Inria, CITI, EA3720
 * SPDX-License-Identifier: Apache-2.0
 */

#ifndef APP_LORAWAN_H
#define APP_LORAWAN_H

//  ========== includes ====================================================================
#include <zephyr/kernel.h>
#include <zephyr/device.h>
#include <zephyr/devicetree.h>
#include <zephyr/drivers/gpio.h>
#include <zephyr/drivers/lora.h>
#include <zephyr/lorawan/lorawan.h>
#include <zephyr/random/random.h>

//  ========== defines =====================================================================
// customize based on network configuration
// node-1-otaa
//#define LORAWAN_DEV_EUI			{ 0x70, 0xB3, 0xD5, 0x7E, 0xD0, 0x06, 0x21, 0xA5 }

// node-2-otaa
#define LORAWAN_DEV_EUI { 0x70, 0xB3, 0xD5, 0x7E, 0xD0, 0x06, 0xB4, 0x66 }

// node-3-0taa
//#define LORAWAN_DEV_EUI { 0x70, 0xB3, 0xD5, 0x7E, 0xD0, 0x06, 0xB4, 0x67 }

#define LORAWAN_JOIN_EUI		{ 0x00, 0x00, 0x00, 0x00, 0x00, 0x00, 0x00, 0x00 }
#define LORAWAN_APP_KEY			{ 0xC7, 0x32, 0x0F, 0x37, 0xFF, 0x62, 0xE0, 0xA8, 0x4E, 0x94, 0xC1, 0x9C, 0x27, 0x2B, 0xFA, 0x4C }
#define LORAWAN_PORT            2       // application port
#define MAX_JOIN_ATTEMPTS       10      // limiting join attempts

// priority of the different threads involved
#define PRIORITY_TTN                5

#endif /* APP_LORAWAN_H */
```

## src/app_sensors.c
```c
/*
 * Copyright (c) 2025
 * Regis Rousseau
 * Univ Lyon, INSA Lyon, Inria, CITI, EA3720
 * SPDX-License-Identifier: Apache-2.0
 */

//  ========== includes ====================================================================
#include "app_sensors.h"
#include "data_types.h"

#include "config.h" // for log level
#include <zephyr/logging/log.h>
LOG_MODULE_REGISTER(sensors);

//  ========== app_sensors_handler =========================================================
int8_t app_sensors_handler()
{
    int8_t ret;
    
    // get sensor device
    const struct device *dev = DEVICE_DT_GET_ONE(sensirion_sht3xd);
    if (!device_is_ready(dev)) {
        LOG_ERR("sensor device not ready");
        return -ENODEV;
    }

    // collect sensor data and add to byte payloa
    struct bth_payload_t payload;
    payload.battery = app_adc_get_bat();
    payload.temperature = app_sht_get_temp(dev);
    k_sleep(K_SECONDS(5));		// small delay between reading the temperature and humidity values
    payload.humidity = app_sht_get_hum(dev);

    ret = lora_send_packet(BTH, (uint8_t *) &payload, sizeof(struct bth_payload_t));

    LOG_INF("BTH data sent!");
    return 0;
}
```

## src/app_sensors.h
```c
/*
 * Copyright (c) 2025
 * Regis Rousseau
 * Univ Lyon, INSA Lyon, Inria, CITI, EA3720
 * SPDX-License-Identifier: Apache-2.0
 */

#ifndef APP_SENSORS_H
#define APP_SENSORS_H

//  ========== includes ====================================================================
#include "app_adc.h"
#include "app_sht31.h"
#include "lorawan.h"

//  ========== defines =====================================================================
#define BYTE_PAYLOAD    12                  // 6 int16 values => 12 bytes                 

//  ========== prototypes ==================================================================
int8_t app_sensors_handler();

#endif /* APP_SENSORS_H */
```

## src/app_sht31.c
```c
/*
 * Copyright (c) 2025
 * Regis Rousseau
 * Univ Lyon, INSA Lyon, Inria, CITI, EA3720
 * SPDX-License-Identifier: Apache-2.0
 */

//  ========== includes ====================================================================
#include "app_sht31.h"

#include "config.h" // for log level
#include <zephyr/logging/log.h>
LOG_MODULE_REGISTER(sht31);


//  ========== app_sht31_get_temp ==========================================================
int16_t app_sht_get_temp(const struct device *dev)
{
    struct sensor_value val;

    // fetch the latest sample from the sensor
	int8_t ret = sensor_sample_fetch(dev);
    if (ret < 0 && ret != -EBADMSG) { 
	    LOG_ERR("SHT31 device sample is not up to date. error: %d", ret);
	    return 0;
    }

    // retrieve the ambient temperature from the sensor
	ret = sensor_channel_get(dev, SENSOR_CHAN_AMBIENT_TEMP, &val);
    if (ret < 0) {
        LOG_ERR("can't read sensor channels. error: %d", ret);
	    return 0;
    }

    // convert the raw temperature value to integer format with scaling
    int32_t temp = (val.val1 * TEMP_SCALE) + ((int64_t)val.val2 * TEMP_SCALE / 1000000);

    // print the temperature value with two decimal places
    LOG_INF("SHT31 temperature: %d.%02d °C", temp / TEMP_SCALE, temp % TEMP_SCALE);
    return (int16_t)temp;
}

//  ========== app_sht31_get_hum ===========================================================
int16_t app_sht_get_hum(const struct device *dev)
{
    struct sensor_value val;

    // fetch the latest sample from the sensor
	int8_t ret = sensor_sample_fetch(dev);
    if (ret < 0 && ret != -EBADMSG) { 
	    LOG_ERR("SHT31 device sample is not up to date. error: %d", ret);
	    return 0;
    }

    // retrieve the humidity from the sensor
	ret = sensor_channel_get(dev, SENSOR_CHAN_HUMIDITY, &val);
    if (ret < 0) {
        LOG_ERR("can't read sensor channels. error: %d", ret);
	    return 0;
    }

    // convert the raw humicity value to integer format with scaling
    int32_t hum = (val.val1 * HUM_SCALE) + ((int64_t)val.val2 * HUM_SCALE / 1000000);

    // print the humifity value with two decimal places
    LOG_INF("SHT31 humidity: %d.%02d %%RH", hum / HUM_SCALE, hum % HUM_SCALE);
    return (int16_t)hum;
}
```

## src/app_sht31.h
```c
/*
 * Copyright (c) 2025
 * Regis Rousseau
 * Univ Lyon, INSA Lyon, Inria, CITI, EA3720
 * SPDX-License-Identifier: Apache-2.0
 */

#ifndef APP_SHT31_H
#define APP_SHT31_H

//  ========== includes ====================================================================
#include <zephyr/kernel.h>
#include <zephyr/device.h>
#include <zephyr/devicetree.h>
#include <zephyr/drivers/sensor.h>
#include <stdint.h>

//  ========== defines =====================================================================
#define TEMP_SCALE  100     // scale for converting to int16_t
#define HUM_SCALE   100     // scale for converting to int16_t

//  ========== prototypes ==================================================================
int16_t app_sht_get_temp(const struct device *dev);
int16_t app_sht_get_hum(const struct device *dev);

#endif /* APP_SHT31_H */
```

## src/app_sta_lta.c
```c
/*
 * Copyright (c) 2025
 * Regis Rousseau
 * Univ Lyon, INSA Lyon, Inria, CITI, EA3720
 * SPDX-License-Identifier: Apache-2.0
 */

 //  ========== includes ===================================================================
#include "app_sta_lta.h"
#include "app_lorawan.h"

//  ========== globals =====================================================================
K_THREAD_STACK_DEFINE(sta_lta_stack, 4096);

// declare a thread data structure to manage the STA/LTA thread
struct k_thread sta_lta_thread_data;

// buffer to hold the Short-Term Average (STA) and Long-Term Average (LTA) samples
static uint16_t sta_buffer[STA_WINDOW_SIZE];
static uint16_t lta_buffer[LTA_WINDOW_SIZE];

//  ========== calculate_sta ===============================================================
// function to calculate the Short-Term Average (STA) of a given buffer
static float calculate_sta(const uint16_t *buffer, size_t size)
{
    float sum = 0.0;
    for (size_t i = 0; i < size; i++) {
        sum += (float)buffer[i];
    }
    //printk("STA sum: %.2f\n", sum/size);
    return sum / size;
}

//  ========== calculate_lta ===============================================================
// function to calculate the Long-Term Average (LTA) of a given buffer
static float calculate_lta(const uint16_t *buffer, size_t size)
{
    float sum = 0.0;
    for (size_t i = 0; i < size; i++) {
        sum += (float)buffer[i];
    }
    //printk("LTA sum: %.2f\n", sum/size);
    return sum / size;
}

//  ========== app_lta_thread ==============================================================
static void app_sta_lta_thread(void *arg1, void *arg2, void *arg3)
{
    printk("STA and LTA thread started\n");

    while (1) {
        // wait for a semaphore indicating that new ADC data is available
        k_sem_take(&data_ready_sem, K_FOREVER);

        int32_t sta_offset = (ring_head - STA_WINDOW_SIZE + ADC_BUFFER_SIZE) % ADC_BUFFER_SIZE;
        int32_t lta_offset = (ring_head - LTA_WINDOW_SIZE + ADC_BUFFER_SIZE) % ADC_BUFFER_SIZE;
        
        // retrieve the most recent data for the STA and LTA buffers
        app_adc_get_buffer(sta_buffer, STA_WINDOW_SIZE, sta_offset);
        app_adc_get_buffer(lta_buffer, LTA_WINDOW_SIZE, lta_offset);

        // debug the buffer
        // for (size_t i = 0; i < LTA_WINDOW_SIZE; i++) {
        //     printk("lta_buffer[%zu] = %d\n", i, sta_buffer[i]);
        // }

        // calculate the STA and LTA values
        float sta = calculate_sta(sta_buffer, STA_WINDOW_SIZE);
        float lta = calculate_lta(lta_buffer, LTA_WINDOW_SIZE);

        // check the ration of long and short window
        float ratio = sta/lta;
        printk("STA: %.2f, LTA: %.2f, ratio: %.2f\n", sta, lta, ratio);
    }
}

//  ========== app_lta_start ===============================================================
// create and initialize the thread with the specified stack and priority
void app_sta_lta_start(void)
{
    k_thread_create(&sta_lta_thread_data, sta_lta_stack, K_THREAD_STACK_SIZEOF(sta_lta_stack),
                    app_sta_lta_thread, NULL, NULL, NULL, PRIORITY_LTA , 0, K_NO_WAIT);
}
```

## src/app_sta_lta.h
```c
/*
 * Copyright (c) 2025
 * Regis Rousseau
 * Univ Lyon, INSA Lyon, Inria, CITI, EA3720
 * SPDX-License-Identifier: Apache-2.0
 */

#ifndef APP_STA_LTA_H
#define APP_STA_LTA_H

//  ========== includes ====================================================================
#include "app_adc.h"

//  ========== prototypes ==================================================================
static void app_lta_thread(void *arg1, void *arg2, void *arg3);
void app_lta_start(void);

#endif /* APP_STA_LTA_H */
```
